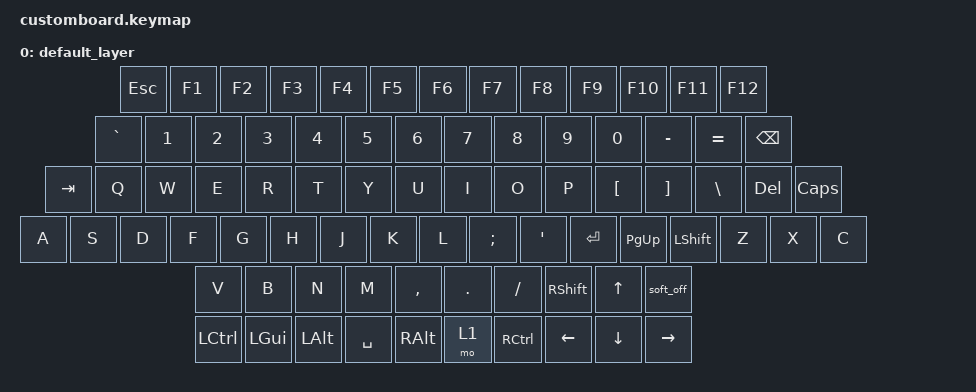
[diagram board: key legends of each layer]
/*
 * Copyright (c) 2022 The ZMK Contributors
 *
 * SPDX-License-Identifier: MIT
 */

#include <behaviors.dtsi>
#include <dt-bindings/zmk/keys.h>
#include <dt-bindings/zmk/bt.h>

&soft_off {
    hold-time-ms = <5000>;
};


/ {
    keymap {
        compatible = "zmk,keymap";

        default_layer {
            bindings = <
&kp ESC    &kp F1  &kp F2  &kp F3  &kp F4     &kp F5   &kp F6     &kp F7     &kp F8   &kp F9     &kp F10    &kp F11    &kp F12   
&kp GRAVE  &kp N1  &kp N2  &kp N3  &kp N4     &kp N5   &kp N6     &kp N7     &kp N8   &kp N9     &kp N0     &kp MINUS  &kp EQUAL  &kp BSPC   
&kp TAB    &kp Q   &kp W   &kp E   &kp R      &kp T    &kp Y      &kp U      &kp I    &kp O      &kp P      &kp LBKT   &kp RBKT   &kp BSLH   &kp DEL    &kp CAPS  
&kp A      &kp S   &kp D   &kp F   &kp G      &kp H   &kp J      &kp K    &kp L      &kp SEMI   &kp SQT  &kp ENTER  &kp PG_UP  &kp LSHFT  &kp Z      &kp X      &kp C
&kp V      &kp B   &kp N   &kp M   &kp COMMA  &kp DOT  &kp SLASH  &kp RSHFT  &kp UP   &soft_off  
&kp LCTRL  &kp LGUI   &kp LALT   &kp SPACE  &kp RALT  &mo 1    &kp RCTRL  &kp LEFT  &kp DOWN  &kp RIGHT
            >;
        };
    };
};
